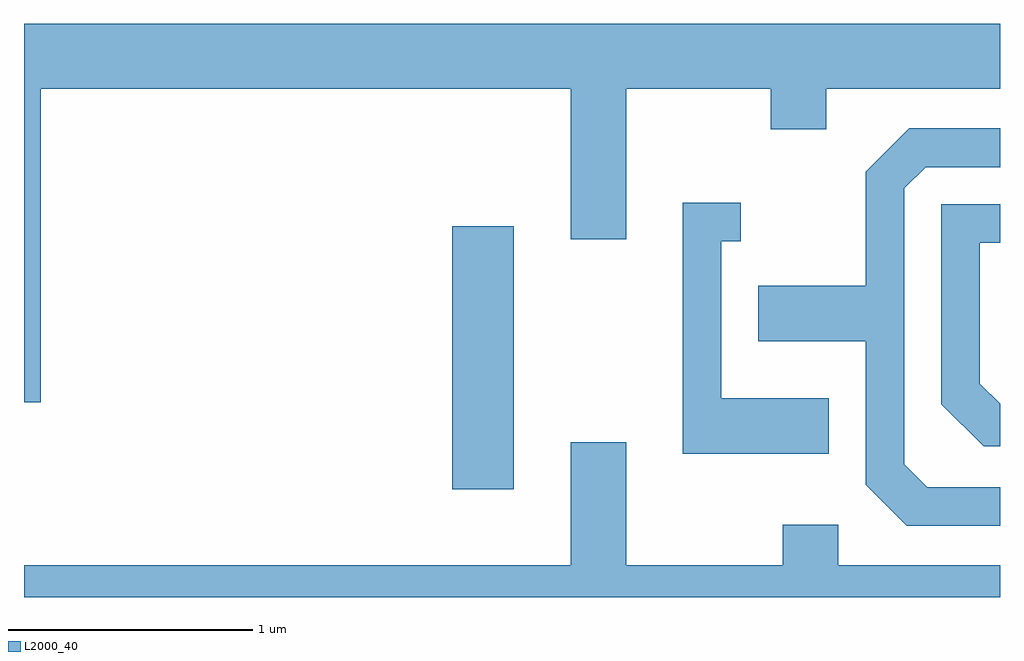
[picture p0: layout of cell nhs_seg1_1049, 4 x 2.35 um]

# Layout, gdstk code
import gdstk
lib = gdstk.Library(unit=1e-6, precision=1e-09)
def R(c, l, rs):  # rectangles x0, y0, x1, y1
    for r in rs: c.add(gdstk.rectangle(r[:2], r[2:], *l))
def P(c, l, *ps):  # polygons
    for p in ps: c.add(gdstk.Polygon(p, *l))
L2000_40 = (2000, 40)

nhs_seg1_1049 = lib.new_cell('nhs_seg1_1049')
R(nhs_seg1_1049, L2000_40, [(219.366,900.156,219.619,901.234)])
P(nhs_seg1_1049, L2000_40, [(217.679,901.796),(219.851,901.796),(219.851,901.181),(220.079,901.181),(220.079,901.796),(220.671,901.796),(220.671,901.631),(220.899,901.631),(220.899,901.796),(221.611,901.796),(221.611,902.064),(217.611,902.064),(217.611,900.511),(217.679,900.511)],
  [(221.611,900.164),(221.312,900.164),(221.219,900.257),(221.219,901.389),(221.307,901.476),(221.611,901.476),(221.611,901.634),(221.239,901.634),(221.061,901.457),(221.061,900.989),(220.621,900.989),(220.621,900.761),(221.061,900.761),(221.061,900.174),(221.229,900.006),(221.611,900.006)],
  [(220.909,900.529),(220.469,900.529),(220.469,901.171),(220.548,901.171),(220.548,901.329),(220.311,901.329),(220.311,900.301),(220.909,900.301)],
  [(221.611,900.505),(221.529,900.587),(221.529,901.166),(221.611,901.166),(221.611,901.324),(221.371,901.324),(221.371,900.504),(221.544,900.331),(221.611,900.331)],
  [(221.611,899.844),(220.949,899.844),(220.949,900.009),(220.721,900.009),(220.721,899.844),(220.079,899.844),(220.079,900.349),(219.851,900.349),(219.851,899.844),(217.611,899.844),(217.611,899.712),(221.611,899.712)])

lib.write_gds('nhs_seg1_1049.gds')
